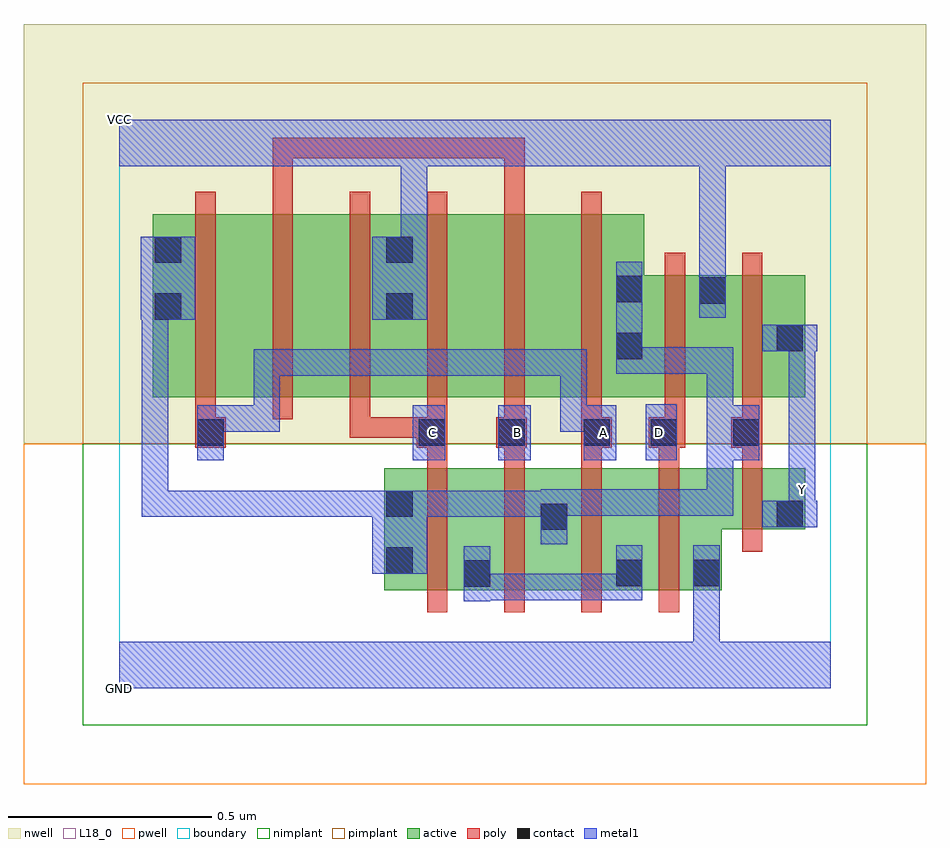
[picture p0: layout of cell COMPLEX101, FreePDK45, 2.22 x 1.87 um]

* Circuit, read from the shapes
.subckt COMPLEX101 A B C D GND VCC Y
M1 n1 C n2 VSUBS nfet w=0.3u l=0.05u
M2 n2 B n1 VSUBS nfet w=0.3u l=0.05u
M3 n1 A n2 VSUBS nfet w=0.3u l=0.05u
M4 GND D n1 VSUBS nfet w=0.3u l=0.05u
M5 Y n2 GND VSUBS nfet w=0.15u l=0.05u
M6 n3 A n2 n4 pfet w=0.45u l=0.05u
M7 n5 B n3 n4 pfet w=0.45u l=0.05u
M8 VCC C n5 n4 pfet w=0.45u l=0.05u
M9 n6 C VCC n4 pfet w=0.45u l=0.05u
M10 n7 B n6 n4 pfet w=0.45u l=0.05u
M11 n2 A n7 n4 pfet w=0.45u l=0.05u
M12 VCC D n2 n4 pfet w=0.3u l=0.05u
M13 Y n2 VCC n4 pfet w=0.3u l=0.05u
.ends

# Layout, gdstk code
import gdstk
lib = gdstk.Library(unit=1e-6, precision=1e-09)
def R(c, l, rs):  # rectangles x0, y0, x1, y1
    for r in rs: c.add(gdstk.rectangle(r[:2], r[2:], *l))
def A(c, l, x, y, w, h, nx, ny, dx, dy):  # array of equal rectangles
    R(c, l, [(x+i*dx, y+j*dy, x+i*dx+w, y+j*dy+h) for i in range(nx) for j in range(ny)])
active = (1, 0)
pwell = (2, 0)
nwell = (3, 0)
nimplant = (4, 0)
pimplant = (5, 0)
poly = (9, 0)
contact = (10, 0)
metal1 = (11, 0)
L18_0 = (18, 0)
boundary = (235, 0)

complex101 = lib.new_cell('COMPLEX101')
R(complex101, active, [(0.652,0.242,0.917,0.542), (0.652,0.242,0.727,0.542), (0.842,0.242,1.107,0.542), (0.842,0.242,0.917,0.422), (1.032,0.242,1.292,0.542), (1.217,0.242,1.482,0.542), (1.407,0.242,1.482,0.392), (1.032,0.247,1.107,0.46), (1.217,0.247,1.292,0.392), (1.407,0.392,1.687,0.542), (1.612,0.392,1.687,0.542), (0.082,0.717,0.307,1.167), (0.082,0.717,0.157,1.117), (0.307,0.717,0.497,1.167), (0.497,0.717,0.727,1.167), (0.652,0.717,0.877,1.167), (0.877,0.717,1.067,1.167), (1.067,0.717,1.292,1.167), (1.217,0.717,1.497,1.017), (1.217,0.717,1.292,1.167), (1.422,0.717,1.687,1.017), (1.612,0.717,1.687,0.957), (0.652,0.732,0.727,1.117), (1.422,0.782,1.497,1.017)])
R(complex101, pwell, [(-0.235,-0.235,1.985,0.602)])
R(complex101, nwell, [(-0.235,0.602,1.985,1.635)])
R(complex101, nimplant, [(-0.09,-0.09,1.84,0.602)])
R(complex101, pimplant, [(-0.09,0.602,1.84,1.49)])
A(complex101, poly, 0.757, 0.187, 0.05, 0.41, 4, 1, 0.19, 0)
A(complex101, poly, 0.757, 0.547, 0.05, 0.095, 4, 1, 0.19, 0)
A(complex101, poly, 0.567, 0.617, 0.05, 0.095, 4, 1, 0.19, 0)
A(complex101, poly, 0.187, 0.662, 0.05, 0.56, 6, 1, 0.19, 0)
R(complex101, poly, [(1.532,0.337,1.582,0.597), (1.532,0.547,1.582,0.642), (0.187,0.592,0.262,0.667), (0.732,0.592,0.807,0.667), (0.927,0.592,1.002,0.667), (1.137,0.592,1.212,0.667), (1.302,0.592,1.392,0.667), (1.505,0.592,1.582,0.667), (0.187,0.617,0.237,0.712), (0.567,0.617,0.617,0.667), (0.567,0.617,0.617,0.667), (0.567,0.617,0.617,0.667), (0.567,0.617,0.782,0.667), (1.342,0.617,1.392,0.712), (1.532,0.617,1.582,0.712), (1.342,0.662,1.392,1.072), (1.532,0.662,1.582,1.072), (0.377,1.172,0.427,1.355), (0.947,1.172,0.997,1.355), (0.377,1.305,0.427,1.355), (0.377,1.305,0.427,1.355), (0.377,1.305,0.427,1.355), (0.377,1.305,0.617,1.355), (0.567,1.305,0.617,1.355), (0.567,1.305,0.75,1.355), (0.7,1.305,0.75,1.355), (0.7,1.305,0.75,1.355), (0.7,1.305,0.75,1.355), (0.7,1.305,0.997,1.355), (0.947,1.305,0.997,1.355), (0.947,1.305,0.997,1.355), (0.947,1.305,0.997,1.355)])
R(complex101, contact, [(0.847,0.25,0.912,0.315), (1.222,0.252,1.287,0.317), (1.412,0.252,1.477,0.317), (0.657,0.282,0.722,0.347), (1.037,0.39,1.102,0.455), (1.617,0.397,1.682,0.462), (0.657,0.422,0.722,0.487), (0.192,0.597,0.257,0.662), (0.737,0.597,0.802,0.662), (0.932,0.597,0.997,0.662), (1.142,0.597,1.207,0.662), (1.307,0.597,1.372,0.662), (1.51,0.597,1.575,0.662), (1.222,0.81,1.287,0.875), (1.617,0.83,1.682,0.895), (0.087,0.907,0.152,0.972), (0.657,0.907,0.722,0.972), (1.427,0.947,1.492,1.012), (1.222,0.95,1.287,1.015), (0.087,1.047,0.152,1.112), (0.657,1.047,0.722,1.112)])
A(complex101, metal1, 0.722, 0.562, 0.08, 0.135, 3, 1, 0.21, 0)
R(complex101, metal1, [(0,0,1.75,0.115), (1.412,0.05,1.477,0.115), (1.412,0.05,1.477,0.115), (1.412,0.05,1.477,0.282), (0.847,0.215,0.912,0.35), (0.847,0.217,0.912,0.282), (0.847,0.217,0.912,0.282), (0.847,0.217,1.15,0.282), (1.085,0.217,1.15,0.282), (1.085,0.217,1.15,0.282), (1.085,0.217,1.15,0.282), (1.085,0.217,1.287,0.282), (1.222,0.217,1.287,0.352), (1.412,0.217,1.477,0.352), (0.622,0.282,0.757,0.487), (1.037,0.355,1.102,0.49), (1.582,0.397,1.717,0.462), (1.647,0.397,1.712,0.487), (0.055,0.422,0.12,0.487), (0.055,0.422,0.12,0.487), (0.055,0.422,0.12,0.487), (0.055,0.422,0.412,0.487), (0.055,0.422,0.12,0.972), (0.347,0.422,0.412,0.487), (0.347,0.422,0.412,0.487), (0.347,0.422,0.412,0.487), (0.347,0.422,0.55,0.487), (0.485,0.422,0.55,0.487), (0.485,0.422,0.55,0.487), (0.485,0.422,0.55,0.487), (0.485,0.422,0.687,0.487), (0.692,0.422,0.757,0.487), (0.692,0.422,0.757,0.487), (0.692,0.422,0.912,0.487), (0.847,0.422,0.912,0.487), (0.847,0.422,0.912,0.487), (0.847,0.422,0.912,0.487), (0.847,0.422,1.102,0.487), (1.647,0.422,1.712,0.557), (1.037,0.425,1.15,0.49), (1.085,0.425,1.15,0.49), (1.085,0.425,1.34,0.49), (1.275,0.425,1.34,0.49), (1.275,0.425,1.34,0.49), (1.275,0.425,1.34,0.49), (1.275,0.425,1.51,0.49), (1.445,0.425,1.51,0.49), (1.445,0.425,1.51,0.627), (1.647,0.492,1.712,0.895), (0.192,0.562,0.257,0.697), (1.295,0.562,1.372,0.7), (1.445,0.562,1.575,0.627), (1.445,0.562,1.51,0.627), (1.445,0.562,1.51,0.84), (1.51,0.562,1.575,0.697), (0.192,0.632,0.395,0.697), (0.33,0.632,0.395,0.697), (0.33,0.632,0.395,0.835), (1.085,0.632,1.15,0.697), (1.085,0.632,1.207,0.697), (1.085,0.632,1.15,0.835), (0.33,0.77,0.395,0.835), (0.33,0.77,0.395,0.835), (0.33,0.77,0.395,0.835), (0.33,0.77,0.55,0.835), (0.485,0.77,0.55,0.835), (0.485,0.77,0.55,0.835), (0.485,0.77,0.55,0.835), (0.485,0.77,0.775,0.835), (0.71,0.77,0.775,0.835), (0.71,0.77,0.775,0.835), (0.71,0.77,0.775,0.835), (0.71,0.77,0.965,0.835), (0.9,0.77,0.965,0.835), (0.9,0.77,0.965,0.835), (0.9,0.77,0.965,0.835), (0.9,0.77,1.15,0.835), (1.085,0.77,1.15,0.835), (1.222,0.775,1.287,0.84), (1.222,0.775,1.287,0.84), (1.222,0.775,1.51,0.84), (1.222,0.775,1.287,1.05), (1.445,0.775,1.51,0.84), (1.582,0.83,1.717,0.895), (0.052,0.907,0.187,1.112), (0.055,0.907,0.12,0.972), (0.055,0.907,0.12,0.972), (0.622,0.907,0.757,1.112), (1.427,0.912,1.492,1.047), (1.427,0.982,1.492,1.35), (0.692,1.047,0.757,1.35), (0,1.285,1.75,1.4), (0.692,1.285,0.757,1.35), (0.692,1.285,0.757,1.35), (1.427,1.285,1.492,1.35), (1.427,1.285,1.492,1.35), (1.427,1.285,1.492,1.35), (1.427,1.285,1.492,1.35)])
A(complex101, L18_0, 0.722, 0.562, 0.08, 0.135, 3, 1, 0.21, 0)
A(complex101, L18_0, 0.737, 0.597, 0.065, 0.065, 3, 1, 0.21, 0)
R(complex101, L18_0, [(0,0,1.75,0.115), (1.412,0.05,1.477,0.115), (1.412,0.05,1.477,0.115), (1.412,0.05,1.477,0.282), (1.412,0.217,1.477,0.352), (1.582,0.397,1.717,0.462), (1.647,0.397,1.712,0.487), (1.647,0.422,1.712,0.557), (1.647,0.457,1.712,0.522), (1.647,0.492,1.712,0.895), (0.192,0.562,0.257,0.697), (1.295,0.562,1.372,0.7), (1.297,0.597,1.362,0.662), (0.192,0.632,0.395,0.697), (0.33,0.632,0.395,0.697), (0.33,0.632,0.395,0.835), (1.085,0.632,1.15,0.697), (1.085,0.632,1.15,0.835), (1.085,0.632,1.207,0.697), (0.33,0.77,0.395,0.835), (0.33,0.77,0.395,0.835), (0.33,0.77,0.395,0.835), (0.33,0.77,0.55,0.835), (0.485,0.77,0.55,0.835), (0.485,0.77,0.55,0.835), (0.485,0.77,0.55,0.835), (0.485,0.77,0.775,0.835), (0.71,0.77,0.775,0.835), (0.71,0.77,0.775,0.835), (0.71,0.77,0.775,0.835), (0.71,0.77,0.965,0.835), (0.9,0.77,0.965,0.835), (0.9,0.77,0.965,0.835), (0.9,0.77,0.965,0.835), (0.9,0.77,1.15,0.835), (1.085,0.77,1.15,0.835), (1.582,0.83,1.717,0.895), (0.622,0.907,0.757,1.112), (1.427,0.912,1.492,1.047), (1.427,0.982,1.492,1.35), (0.692,1.047,0.757,1.35), (0,1.285,1.75,1.4), (0.692,1.285,0.757,1.35), (0.692,1.285,0.757,1.35), (1.427,1.285,1.492,1.35), (1.427,1.285,1.492,1.35), (1.427,1.285,1.492,1.35), (1.427,1.285,1.492,1.35)])
R(complex101, boundary, [(0,0,1.75,1.4)])
complex101.add(gdstk.Label('A', (1.19,0.63), layer=11, texttype=0))
complex101.add(gdstk.Label('B', (0.98,0.63), layer=11, texttype=0))
complex101.add(gdstk.Label('C', (0.77,0.63), layer=11, texttype=0))
complex101.add(gdstk.Label('D', (1.33,0.63), layer=11, texttype=0))
complex101.add(gdstk.Label('Y', (1.68,0.49), layer=11, texttype=0))
complex101.add(gdstk.Label('VCC', (0,1.4), layer=11, texttype=0))
complex101.add(gdstk.Label('GND', (0,0), layer=11, texttype=0))

lib.write_gds('COMPLEX101.gds')
